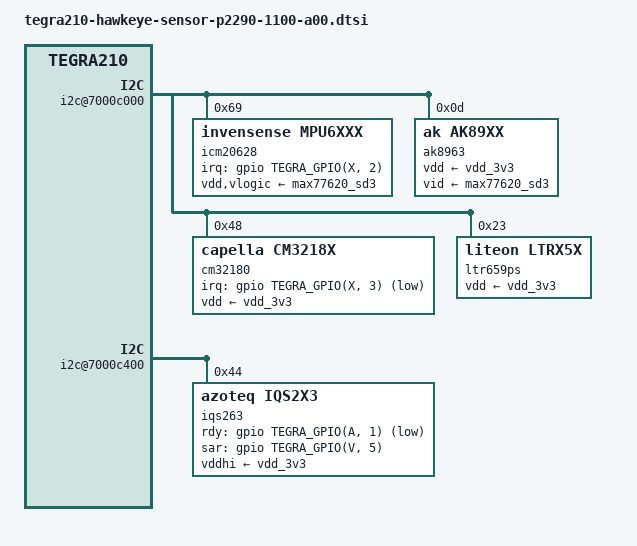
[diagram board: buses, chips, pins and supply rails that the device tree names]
/*
 * Copyright (c) 2014-2015, NVIDIA CORPORATION.  All rights reserved.
 *
 * This program is free software; you can redistribute it and/or modify
 * it under the terms of the GNU General Public License as published by
 * the Free Software Foundation; either version 2 of the License, or
 * (at your option) any later version.
 *
 * This program is distributed in the hope that it will be useful, but WITHOUT
 * ANY WARRANTY; without even the implied warranty of MERCHANTABILITY or
 * FITNESS FOR A PARTICULAR PURPOSE.  See the GNU General Public License for
 * more details.
 *
 * You should have received a copy of the GNU General Public License along
 * with this program; if not, write to the Free Software Foundation, Inc.,
 * 51 Franklin Street, Fifth Floor, Boston, MA  02110-1301, USA.
 */

#include <dt-bindings/gpio/tegra-gpio.h>
/ {
	i2c@7000c000 {
		icm20628@69 {
			compatible = "invensense,mpu6xxx";
			reg = <0x69>;
			vdd-supply = <&max77620_sd3>;		/* E2290 Main Board	*/
			vlogic-supply = <&max77620_sd3>;	/* E2290 Main Board	*/
			interrupt-parent = <&gpio>;
			interrupts = <TEGRA_GPIO(X, 2) 0x01>;
			accelerometer_matrix = [00 01 00 ff 00 00 00 00 01];
			gyroscope_matrix = [00 01 00 ff 00 00 00 00 01];
			gyroscope_delay_us_max = <100000>;
		};

		ak8963@0d {
			compatible = "ak,ak89xx";
			reg = <0x0d>;
			vdd-supply = <&vdd_3v3>;		/* E2290 Main Board	*/
			vid-supply = <&max77620_sd3>;		/* E2290 Main Board	*/
			magnetic_field_matrix = [00 01 00 ff 00 00 00 00 01];
			magnetic_field_delay_us_min = <16666>;
		};

		cm32180@48 {
			compatible = "capella,cm3218x";
			reg = <0x48>;
			vdd-supply = <&vdd_3v3>;		/* P2297 Flex Cable	*/
			gpio_irq = <&gpio TEGRA_GPIO(X, 3) GPIO_ACTIVE_LOW>;
			cm32180_dynamic_resolution_index_limit_low = <0>;
			cm32180_dynamic_resolution_index_limit_high = <3>;
			cm32180_lux_maximum = <3000000>;
			light_report_count = <2>;
			light_threshold_lo = <0>;
			light_threshold_hi = <1>;
			cm32180_nld_thr_i_hi_0 = <2625>;
			cm32180_nld_thr_i_lo_1 = <1310>;
			cm32180_nld_thr_i_hi_1 = <4025>;
			cm32180_nld_thr_i_lo_2 = <2005>;
			cm32180_nld_thr_i_hi_2 = <3800>;
			cm32180_nld_thr_i_lo_3 = <1850>;
			light_uncalibrated_lo = <730>;
			light_uncalibrated_hi = <24810>;
			light_calibrated_lo = <8400>;
			light_calibrated_hi = <310000>;
		};

		ltr659ps@23 {
			compatible = "liteon,ltrX5X";
			reg = <0x23>;
			vdd-supply = <&vdd_3v3>;		/* P2297 Flex Cable	*/
		};
	};

	i2c@7000c400 {
		iqs263@44 {
			compatible = "azoteq,iqs2x3";
			reg = <0x44>;
			vddhi-supply = <&vdd_3v3>;		/* P2293 Flex Cable	*/
			gpio_rdy = <&gpio TEGRA_GPIO(A, 1) GPIO_ACTIVE_LOW>;
			gpio_sar = <&gpio TEGRA_GPIO(V, 5) GPIO_ACTIVE_HIGH>;
			SAR_proximity_flags = <0>;
			SAR_touch_flags = <0>;
			deferred_resume_ms = <3000>;
			os_options = <0>;
			stream_mode = <0>;
			gpio_sar_dev_assert = "SAR_proximity";
			gpio_sar_dev_deassert = "SAR_proximity";
			263suspend_0 = [01 0D 01 FF];
			263suspend_1 = [03 0B 00 0A 0A FF FF FF];
			263suspend_2 = [01 09 10 FF];
			263suspend_3 = [FF FF];
			263suspend_4 = [FF FF];
			263suspend_5 = [05 09 80 40 00 00 00 FF FF FF FF FF];
			263suspend_6 = [03 0A FF FF FF FF FF FF];
			263suspend_7 = [01 0B 0F FF];
			263suspend_8 = [FF FF];
			263init_0 = [05 09 80 02 10 07 0F FF 04 FF FF FF];
			263init_1 = [01 0D 01 FF];
			263init_2 = [01 01 00 FF];
			263init_3 = [05 07 1D 0A 0C 00 A2 FF FF FF FF FF];
			263init_4 = [04 08 B2 D9 D8 00 FF FF FF FF];
			263init_5 = [08 0A 08 FF FF FF 0C 00 64 14 FF FF FF FF FF FF FF FF];
			263init_6 = [03 0B 00 01 7D FF FF FF];
			263en_prox_0 = [01 09 10 FF];
			263en_prox_1 = [FF FF];
			263en_prox_2 = [FF FF];
			263en_prox_3 = [FF FF];
			263en_prox_4 = [FF FF];
			263en_prox_5 = [02 09 00 C0 FF FF];
			263en_prox_6 = [FF FF];
		};
	};
};
